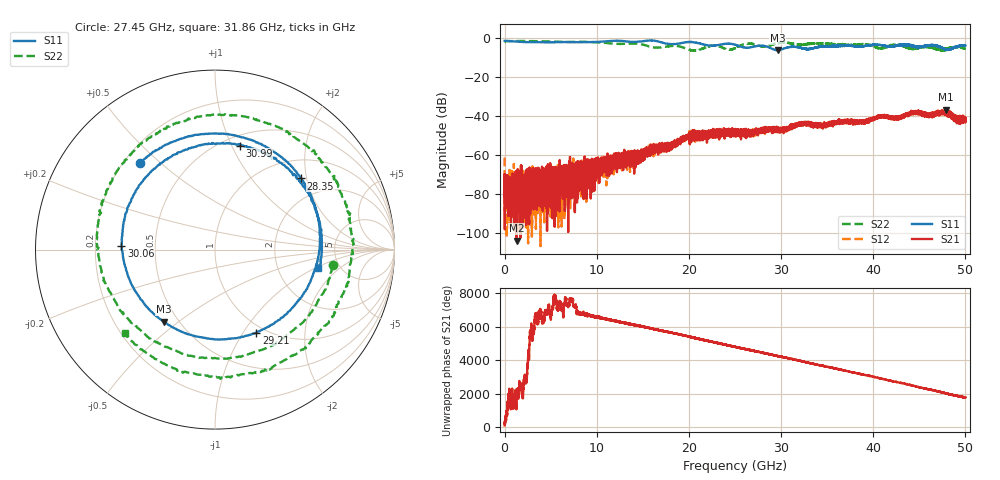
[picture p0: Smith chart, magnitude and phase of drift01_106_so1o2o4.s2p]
!Created with skrf (http://scikit-rf.org).
# Hz S RI R 50.0
!freq ReS11 ImS11 ReS21 ImS21 ReS12 ImS12 ReS22 ImS22
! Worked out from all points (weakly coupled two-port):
!   10001 points, 300 kHz to 50 GHz, reference 50 ohm
!   highest |S21| = -36.77 dB at 47.87 GHz (marker M1); lowest = -104.0 dB at 1.3 GHz (marker M2)
!   lowest |S11| = -6.2 dB at 29.64 GHz (marker M3), VSWR 2.94, Z = 20.9 - j22.2 ohm
!   |S11| at or under -10 dB: nowhere
!   |S22| runs from -6.4 to -1.4 dB; largest |S21 - S12| = 0.0043
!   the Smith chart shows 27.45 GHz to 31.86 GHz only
!   S11 on the Smith chart (normalised r, x): 27.45 GHz: 0.26, +0.43; 28.35 GHz: 1.43, +1.85; 29.21 GHz: 0.91, -1.15; 30.06 GHz: 0.31, +0.02; 30.99 GHz: 0.60, +1.07; 31.86 GHz: 3.46, -1.09
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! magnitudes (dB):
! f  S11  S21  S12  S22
! 300 kHz  -1.3  -80.8  -61.3  -2.1
! 265.3 MHz  -1.4  -77.4  -81.8  -1.4
! 1.3 GHz  -1.7  -104.0  -90.0  -1.4
! 5.17 GHz  -2.1  -70.3  -67.9  -1.6
! 8.335 GHz  -2.0  -66.4  -70.6  -1.8
! 16.67 GHz  -1.6  -59.8  -57.6  -4.8
! 20.36 GHz  -1.9  -49.3  -52.4  -6.2
! 22.61 GHz  -3.8  -47.1  -48.7  -3.8
! 25 GHz  -3.3  -48.9  -48.7  -5.0
! 27.45 GHz  -3.9  -47.9  -47.6  -3.6
! 28.35 GHz  -4.1  -46.3  -47.6  -4.3
! 29.21 GHz  -5.7  -46.6  -47.4  -3.0
! 29.64 GHz  -6.2  -46.7  -46.9  -2.5
! 30.06 GHz  -5.7  -47.0  -47.1  -2.3
! 30.99 GHz  -4.5  -45.8  -45.8  -2.5
! 31.86 GHz  -4.6  -44.2  -44.5  -3.3
! 33.34 GHz  -5.2  -44.3  -44.3  -2.6
! 41.67 GHz  -4.2  -40.3  -40.5  -4.1
! 44.39 GHz  -4.1  -37.9  -38.6  -5.4
! 46.49 GHz  -3.5  -38.7  -39.3  -5.0
! 47.87 GHz  -5.7  -36.8  -38.2  -5.5
! 50 GHz  -3.8  -41.2  -42.0  -5.3
